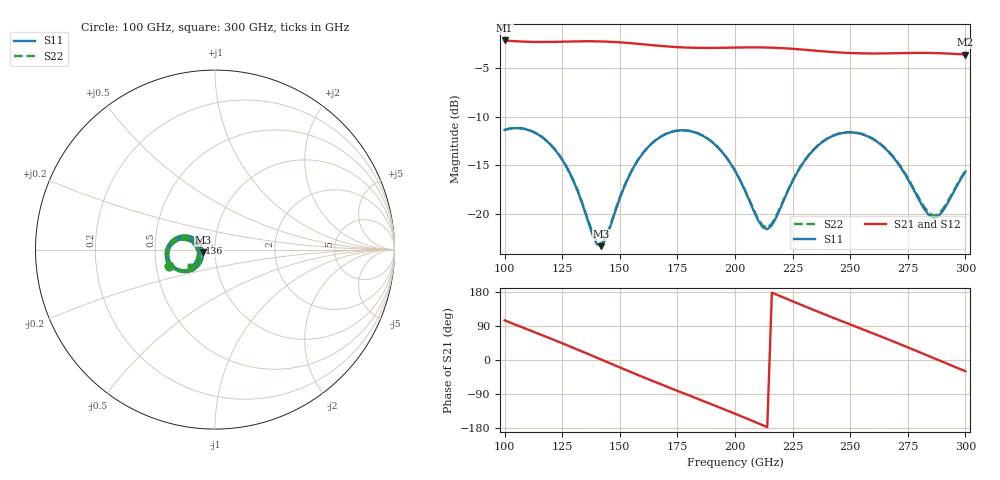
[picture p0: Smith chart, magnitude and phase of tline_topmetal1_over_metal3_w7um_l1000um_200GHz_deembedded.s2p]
! Created with skrf 2.2.0 (http://scikit-rf.org).
# GHz S DB R 50.0
! Port[1] = P1
! Port[2] = P2
!freq dBS11 angS11 dBS21 angS21 dBS12 angS12 dBS22 angS22
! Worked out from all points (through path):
!   101 points, 100 GHz to 300 GHz, reference 50 ohm
!   highest |S21| = -2.16 dB at 100 GHz (marker M1); lowest = -3.6 dB at 300 GHz (marker M2)
!   group delay of S21, straight-line fit = 6.86 ps
!   lowest |S11| = -23.3 dB at 142 GHz (marker M3), VSWR 1.15, Z = 43.7 - j1.3 ohm
!   |S11| at or under -10 dB: start of sweep to end of sweep
!   |S22| runs from -23.0 to -11.1 dB; largest |S21 - S12| = 1.3e-12
!   S11 on the Smith chart (normalised r, x): 100 GHz: 0.59, -0.11; 136 GHz: 0.84, +0.06; 300 GHz: 0.75, -0.15
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100  -11.36 -160.4  -2.16 104.6  -2.16 104.6  -11.34 -160.2
108  -11.22 -175.8  -2.28 85.4  -2.28 85.4  -11.20 -175.5
116  -12.05 169.5  -2.31 66.1  -2.31 66.1  -12.02 169.9
126  -14.79 154.3  -2.28 41.7  -2.28 41.7  -14.75 155.0
134  -19.14 152.7  -2.25 21.6  -2.25 21.6  -19.03 153.6
136  -20.59 156.9  -2.24 16.5  -2.24 16.5  -20.44 157.8
142  -23.29 -167.5  -2.26 1.1  -2.26 1.1  -23.05 -167.7
156  -15.19 -137.7  -2.46 -34.8  -2.46 -34.8  -15.16 -137.9
168  -12.01 -155.1  -2.72 -64.5  -2.72 -64.5  -12.00 -155.1
176  -11.40 -168.9  -2.85 -83.7  -2.85 -83.7  -11.39 -168.7
184  -11.72 177.5  -2.92 -102.8  -2.92 -102.8  -11.70 177.8
200  -15.55 157.1  -2.89 -141.8  -2.89 -141.8  -15.50 157.7
210  -20.62 169.7  -2.87 -166.9  -2.87 -166.9  -20.48 170.3
214  -21.55 -170.0  -2.89 -177.1  -2.89 -177.1  -21.38 -169.8
224  -17.08 -140.7  -3.00 157.5  -3.00 157.5  -17.03 -140.9
234  -13.42 -147.3  -3.19 132.5  -3.19 132.5  -13.39 -147.2
250  -11.59 -171.2  -3.45 93.9  -3.45 93.9  -11.57 -170.9
258  -12.05 176.5  -3.49 74.8  -3.49 74.8  -12.02 177.0
268  -13.96 164.0  -3.48 50.6  -3.48 50.6  -13.90 164.7
278  -17.69 162.9  -3.44 25.9  -3.44 25.9  -17.56 163.8
286  -20.36 -173.7  -3.45 5.7  -3.45 5.7  -20.14 -173.4
300  -15.62 -144.3  -3.61 -29.6  -3.61 -29.6  -15.55 -144.5
